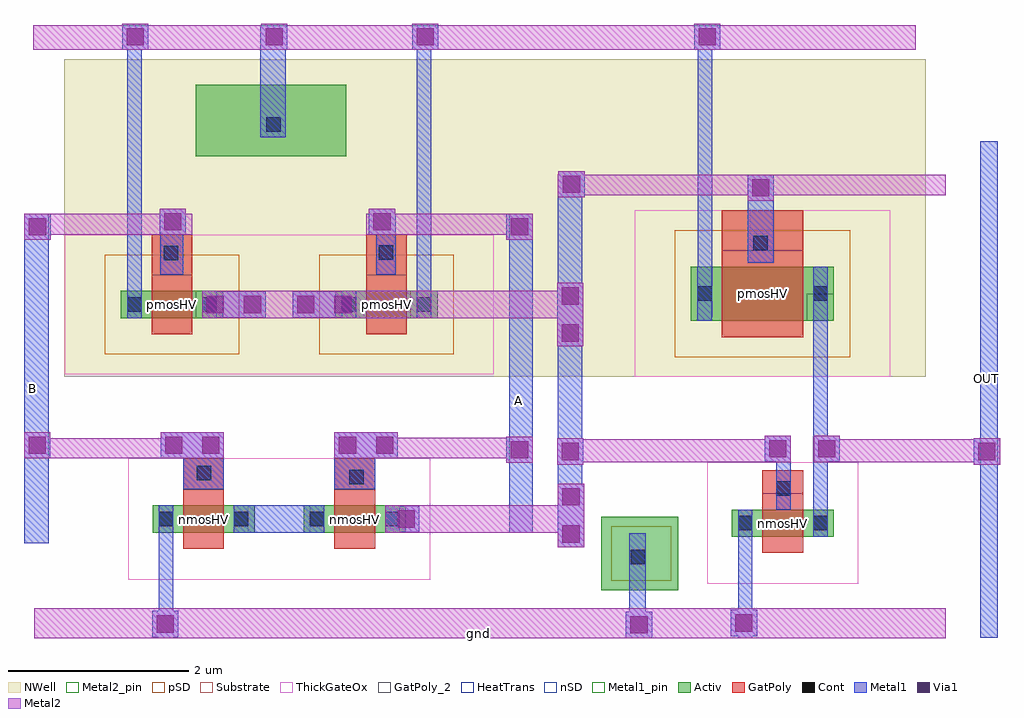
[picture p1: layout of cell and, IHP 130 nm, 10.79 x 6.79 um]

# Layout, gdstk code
import gdstk
lib = gdstk.Library(unit=1e-6, precision=1e-09)
def R(c, l, rs):  # rectangles x0, y0, x1, y1
    for r in rs: c.add(gdstk.rectangle(r[:2], r[2:], *l))
def P(c, l, *ps):  # polygons
    for p in ps: c.add(gdstk.Polygon(p, *l))
Activ = (1, 0)
GatPoly = (5, 0)
GatPoly_2 = (5, 2)
Cont = (6, 0)
nSD = (7, 0)
Metal1 = (8, 0)
Metal1_pin = (8, 2)
Metal2 = (10, 0)
Metal2_pin = (10, 2)
pSD = (14, 0)
Via1 = (19, 0)
NWell = (31, 0)
Substrate = (40, 0)
ThickGateOx = (44, 0)
HeatTrans = (51, 0)

and_ = lib.new_cell('and')
R(and_, Activ, [(241.9,413.115,242.75,413.925), (243.34,413.705,243.64,414.005), (243.34,413.705,244.47,414.005), (244.17,413.705,244.47,414.005), (236.94,413.75,237.24,414.05), (236.94,413.75,238.07,414.05), (237.77,413.75,238.07,414.05), (238.61,413.75,238.91,414.05), (238.61,413.75,239.74,414.05), (239.44,413.75,239.74,414.05), (242.89,416.09,243.19,416.39), (242.89,416.09,244.47,416.69), (244.17,416.09,244.47,416.39), (236.59,416.12,236.89,416.42), (236.59,416.12,237.72,416.42), (237.42,416.12,237.72,416.42), (238.96,416.12,239.26,416.42), (238.96,416.12,240.09,416.42), (239.79,416.12,240.09,416.42), (237.42,417.91,239.08,418.7)])
R(and_, GatPoly, [(243.68,413.525,244.13,414.185), (237.28,413.57,237.73,414.23), (238.95,413.57,239.4,414.23), (243.68,414.185,244.13,414.44), (237.28,414.23,237.73,414.57), (238.95,414.23,239.4,414.57), (243.23,415.91,244.13,416.87), (236.93,415.94,237.38,416.6), (239.3,415.94,239.75,416.6), (236.93,416.6,237.38,417.04), (239.3,416.6,239.75,417.04), (243.23,416.87,244.13,417.31)])
R(and_, GatPoly_2, [(243.68,413.525,244.13,414.185), (237.28,413.57,237.73,414.23), (238.95,413.57,239.4,414.23), (243.23,415.91,244.13,416.87), (236.93,415.94,237.38,416.6), (239.3,415.94,239.75,416.6)])
R(and_, Cont, [(242.225,413.4,242.385,413.56), (243.41,413.775,243.57,413.935), (244.24,413.775,244.4,413.935), (237.01,413.82,237.17,413.98), (237.84,413.82,238,413.98), (238.68,413.82,238.84,413.98), (239.51,413.82,239.67,413.98), (243.835,414.155,243.995,414.315), (239.115,414.285,239.275,414.445), (237.43,414.33,237.59,414.49), (236.66,416.19,236.82,416.35), (237.49,416.19,237.65,416.35), (239.03,416.19,239.19,416.35), (239.86,416.19,240.02,416.35), (242.96,416.31,243.12,416.47), (244.24,416.31,244.4,416.47), (237.065,416.76,237.225,416.92), (239.44,416.765,239.6,416.925), (243.58,416.87,243.74,417.03), (238.195,418.18,238.355,418.34)])
R(and_, nSD, [(237.42,417.91,239.08,418.7)])
R(and_, Metal1, [(237.01,412.58,237.17,414.05), (242.17,412.585,242.46,412.875), (242.21,412.585,242.39,413.745), (243.41,412.585,243.57,413.935), (246.085,412.59,246.28,418.075), (236.935,412.595,237.225,412.885), (243.33,412.605,243.62,412.895), (241.42,413.59,241.71,414.29), (235.52,413.63,235.795,417.275), (243.41,413.705,243.57,414.005), (244.24,413.705,244.4,416.105), (244.24,413.705,244.4,414.005), (241.42,413.745,241.69,417.705), (237.01,413.75,237.17,414.05), (237.84,413.75,238.84,414.05), (237.84,413.75,238,414.05), (238.68,413.75,238.84,414.05), (239.51,413.75,239.67,414.05), (240.88,413.75,241.14,417.275), (239.6,413.755,239.89,414.045), (243.835,414.005,243.995,414.78), (237.28,414.23,237.73,414.79), (238.95,414.23,239.4,414.8), (241.41,414.5,241.7,414.79), (246.015,414.5,246.305,414.79), (240.85,414.52,241.14,414.81), (243.705,414.53,243.995,414.82), (244.245,414.53,244.535,414.82), (235.52,414.57,235.81,414.86), (237.03,414.57,237.73,414.86), (238.95,414.57,239.65,414.86), (241.41,415.81,241.7,416.51), (242.96,416.09,243.12,416.69), (244.24,416.09,244.4,416.69), (236.66,416.12,236.82,419.355), (236.66,416.12,236.82,416.42), (237.49,416.12,237.65,416.42), (239.03,416.12,239.19,416.42), (239.86,416.12,240.02,419.355), (239.86,416.12,240.02,416.42), (237.49,416.125,238.19,416.415), (238.49,416.125,239.19,416.415), (242.965,416.13,243.125,419.355), (237.025,416.6,237.28,417.275), (239.41,416.6,239.63,417.275), (243.52,416.73,243.805,417.695), (235.525,416.985,235.815,417.275), (240.85,416.985,241.14,417.275), (237.02,417.04,237.31,417.33), (239.33,417.04,239.62,417.33), (243.515,417.415,243.805,417.705), (241.425,417.455,241.715,417.745), (238.13,418.12,238.41,419.355), (236.605,419.085,236.895,419.375), (238.14,419.085,238.43,419.375), (239.81,419.085,240.1,419.375), (242.925,419.085,243.215,419.375)])
R(and_, Metal1_pin, [(246.085,412.59,246.28,418.075), (235.52,413.63,235.795,417.275), (243.41,413.705,243.57,414.005), (244.24,413.705,244.4,414.005), (237.01,413.75,237.17,414.05), (237.84,413.75,238,414.05), (238.68,413.75,238.84,414.05), (239.51,413.75,239.67,414.05), (240.88,413.75,241.14,417.275), (242.96,416.09,243.12,416.69), (244.24,416.09,244.4,416.69), (236.66,416.12,236.82,416.42), (237.49,416.12,237.65,416.42), (239.03,416.12,239.19,416.42), (239.86,416.12,240.02,416.42)])
R(and_, Metal2, [(242.17,412.585,242.46,412.875), (236.935,412.595,237.225,412.885), (243.33,412.605,243.62,412.895), (241.42,413.59,241.71,414.29), (239.51,413.75,241.71,414.05), (239.6,413.755,239.89,414.045), (241.41,414.5,241.7,414.79), (246.015,414.5,246.305,414.79), (240.85,414.52,241.14,414.81), (241.42,414.525,243.995,414.78), (244.255,414.525,246.28,414.78), (243.705,414.53,243.995,414.82), (244.245,414.53,244.535,414.82), (235.52,414.57,237.73,414.79), (235.52,414.57,235.81,414.86), (237.03,414.57,237.73,414.86), (238.95,414.57,241.14,414.8), (238.95,414.57,239.65,414.86), (241.41,415.81,241.7,416.51), (237.49,416.12,241.69,416.42), (237.49,416.125,238.19,416.415), (238.49,416.125,239.19,416.415), (235.525,416.985,235.815,417.275), (240.85,416.985,241.14,417.275), (235.52,417.04,237.38,417.275), (237.02,417.04,237.31,417.33), (239.33,417.04,239.62,417.33), (243.515,417.415,243.805,417.705), (241.425,417.455,241.715,417.745), (241.42,417.48,245.705,417.705), (235.62,419.085,245.375,419.355), (236.605,419.085,236.895,419.375), (238.14,419.085,238.43,419.375), (239.81,419.085,240.1,419.375), (242.925,419.085,243.215,419.375)])
P(and_, Metal2, [(239.3,417.04),(239.3,417.275),(241.11,417.275),(241.11,417.27),(241.14,417.27),(241.14,417.04)],
  [(235.635,412.58),(235.635,412.915),(245.705,412.915),(245.705,412.585),(241.13,412.585),(241.13,412.58)])
R(and_, Metal2_pin, [(235.635,412.585,245.705,412.915), (235.62,419.085,245.375,419.355)])
R(and_, pSD, [(242.01,413.215,242.675,413.82), (242.71,415.69,244.65,417.09), (236.41,415.72,237.9,416.82), (238.78,415.72,240.27,416.82)])
R(and_, Via1, [(242.22,412.635,242.41,412.825), (236.985,412.645,237.175,412.835), (243.38,412.655,243.57,412.845), (241.47,413.64,241.66,413.83), (239.65,413.805,239.84,413.995), (241.47,414.05,241.66,414.24), (241.46,414.55,241.65,414.74), (246.065,414.55,246.255,414.74), (240.9,414.57,241.09,414.76), (243.755,414.58,243.945,414.77), (244.295,414.58,244.485,414.77), (235.57,414.62,235.76,414.81), (237.08,414.62,237.27,414.81), (237.49,414.62,237.68,414.81), (239,414.62,239.19,414.81), (239.41,414.62,239.6,414.81), (241.46,415.86,241.65,416.05), (237.54,416.175,237.73,416.365), (237.95,416.175,238.14,416.365), (238.54,416.175,238.73,416.365), (238.95,416.175,239.14,416.365), (241.46,416.27,241.65,416.46), (235.575,417.035,235.765,417.225), (240.9,417.035,241.09,417.225), (237.07,417.09,237.26,417.28), (239.38,417.09,239.57,417.28), (243.565,417.465,243.755,417.655), (241.475,417.505,241.665,417.695), (236.655,419.135,236.845,419.325), (238.19,419.135,238.38,419.325), (239.86,419.135,240.05,419.325), (242.975,419.135,243.165,419.325)])
R(and_, NWell, [(235.965,415.47,245.485,418.98), (242.27,415.47,245.09,417.31), (235.97,415.5,238.34,417.04), (238.34,415.5,240.71,417.04)])
R(and_, Substrate, [(244.17,416.09,244.47,416.39), (237.42,416.12,237.72,416.42), (239.79,416.12,240.09,416.42)])
R(and_, ThickGateOx, [(243.07,413.185,244.74,414.525), (236.67,413.23,238.34,414.57), (238.34,413.23,240.01,414.57), (242.27,415.47,245.09,417.31), (235.97,415.5,238.34,417.04), (238.34,415.5,240.71,417.04)])
R(and_, HeatTrans, [(243.68,413.525,244.13,414.185), (237.28,413.57,237.73,414.23), (238.95,413.57,239.4,414.23), (243.23,415.91,244.13,416.87), (236.93,415.94,237.38,416.6), (239.3,415.94,239.75,416.6)])
and_.add(gdstk.Label('OUT', (246.155,415.45), layer=8, texttype=2))
and_.add(gdstk.Label('pmosHV', (239.525,416.27), layer=63, texttype=0))
and_.add(gdstk.Label('nmosHV', (243.905,413.855), layer=63, texttype=0))
and_.add(gdstk.Label('pmosHV', (237.155,416.27), layer=63, texttype=0))
and_.add(gdstk.Label('nmosHV', (239.175,413.9), layer=63, texttype=0))
and_.add(gdstk.Label('nmosHV', (237.505,413.9), layer=63, texttype=0))
and_.add(gdstk.Label('pmosHV', (243.68,416.39), layer=63, texttype=0))
and_.add(gdstk.Label('pmos', (239.525,416.27), layer=51, texttype=0))
and_.add(gdstk.Label('nmosHV', (243.905,413.855), layer=51, texttype=0))
and_.add(gdstk.Label('pmos', (237.155,416.27), layer=51, texttype=0))
and_.add(gdstk.Label('nmosHV', (239.175,413.9), layer=51, texttype=0))
and_.add(gdstk.Label('nmosHV', (237.505,413.9), layer=51, texttype=0))
and_.add(gdstk.Label('pmos', (243.68,416.39), layer=51, texttype=0))
and_.add(gdstk.Label('gnd', (240.545,412.63), layer=10, texttype=25))
and_.add(gdstk.Label('B', (235.615,415.34), layer=8, texttype=25))
and_.add(gdstk.Label('A', (240.985,415.215), layer=8, texttype=25))

lib.write_gds('and.gds')
